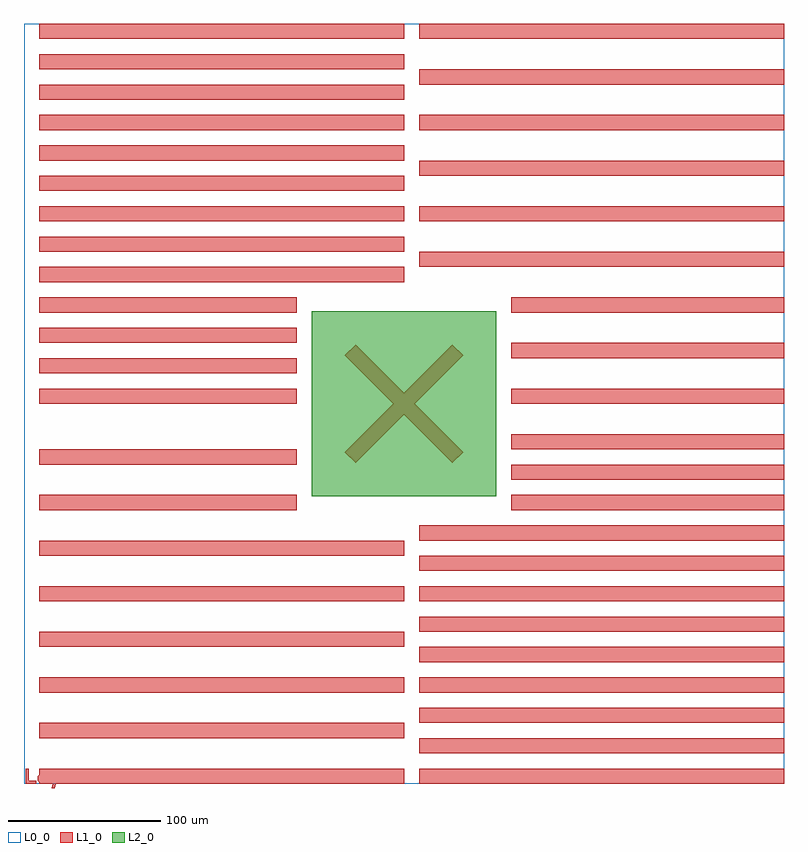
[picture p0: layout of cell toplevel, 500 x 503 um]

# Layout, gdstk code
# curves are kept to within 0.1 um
import gdstk
lib = gdstk.Library(unit=1e-6, precision=1e-09)
def R(c, l, rs):  # rectangles x0, y0, x1, y1
    for r in rs: c.add(gdstk.rectangle(r[:2], r[2:], *l))
def P(c, l, *ps):  # polygons
    for p in ps: c.add(gdstk.Polygon(p, *l))
L0_0 = (0, 0)
L1_0 = (1, 0)
L2_0 = (2, 0)

text = lib.new_cell('text')
P(text, L1_0, [(1,10),(3,10),(3,2),(8,2),(8,0),(1,0),(1,10)],
  [(16,0),(11,0),(9,2),(9,5),(11.34,7),(14,7),(14,7.75),(16,7.75),(16,4),(14,4),(14,5),(12,5),(11,4),(11,3),(12,2),(14,2),(14,3),(16,3)],
  [(18.14,-3),(19,0),(17,7),(19,7),(20,3.5),(21,7),(23,7),(21,0),(20.14,-3),(18.14,-3)],
  [(25,0),(24,1),(24,7),(25,8),(30,8),(31,7),(31,4),(30,3),(27.4,3),(27.4,5),(29,5),(29,6),(26,6),(26,2),(31,2),(31,1),(30,0)],
  [(37,4),(37,5),(35,5),(34,4),(34,0),(32,0),(32,7),(34,7),(34,6),(35,7),(38,7),(39,6),(39,4)],
  [(41,6),(40,6),(40,8),(42,10),(43,10),(43,2),(44,2),(44,0),(40,0),(40,2),(41,2)])

cross = lib.new_cell('cross')
P(cross, L1_0, [(218.18,211.109),(211.109,218.18),(281.82,288.891),(288.891,281.82)],
  [(281.82,211.109),(211.109,281.82),(218.18,288.891),(288.891,218.18)])

line = lib.new_cell('line')
R(line, L1_0, [(10,250,179.289,260)])

line001 = lib.new_cell('line001')
R(line001, L1_0, [(10,270,179.289,280)])

line002 = lib.new_cell('line002')
R(line002, L1_0, [(10,290,179.289,300)])

line003 = lib.new_cell('line003')
R(line003, L1_0, [(10,310,179.289,320)])

linespace = lib.new_cell('linespace')
linespace.add(gdstk.Reference(line, (0,0)))
linespace.add(gdstk.Reference(line001, (0,0)))
linespace.add(gdstk.Reference(line002, (0,0)))
linespace.add(gdstk.Reference(line003, (0,0)))

line004 = lib.new_cell('line004')
R(line004, L1_0, [(10,330,250,340)])

line005 = lib.new_cell('line005')
R(line005, L1_0, [(10,350,250,360)])

line006 = lib.new_cell('line006')
R(line006, L1_0, [(10,370,250,380)])

line007 = lib.new_cell('line007')
R(line007, L1_0, [(10,390,250,400)])

line008 = lib.new_cell('line008')
R(line008, L1_0, [(10,410,250,420)])

line009 = lib.new_cell('line009')
R(line009, L1_0, [(10,430,250,440)])

line010 = lib.new_cell('line010')
R(line010, L1_0, [(10,450,250,460)])

line011 = lib.new_cell('line011')
R(line011, L1_0, [(10,470,250,480)])

line012 = lib.new_cell('line012')
R(line012, L1_0, [(10,490,250,500)])

linespace001 = lib.new_cell('linespace001')
linespace001.add(gdstk.Reference(line004, (0,0)))
linespace001.add(gdstk.Reference(line005, (0,0)))
linespace001.add(gdstk.Reference(line006, (0,0)))
linespace001.add(gdstk.Reference(line007, (0,0)))
linespace001.add(gdstk.Reference(line008, (0,0)))
linespace001.add(gdstk.Reference(line009, (0,0)))
linespace001.add(gdstk.Reference(line010, (0,0)))
linespace001.add(gdstk.Reference(line011, (0,0)))
linespace001.add(gdstk.Reference(line012, (0,0)))

line013 = lib.new_cell('line013')
R(line013, L1_0, [(320.711,250,500,260)])

line014 = lib.new_cell('line014')
R(line014, L1_0, [(320.711,280,500,290)])

line015 = lib.new_cell('line015')
R(line015, L1_0, [(320.711,310,500,320)])

linespace002 = lib.new_cell('linespace002')
linespace002.add(gdstk.Reference(line013, (0,0)))
linespace002.add(gdstk.Reference(line014, (0,0)))
linespace002.add(gdstk.Reference(line015, (0,0)))

line016 = lib.new_cell('line016')
R(line016, L1_0, [(260,340,500,350)])

line017 = lib.new_cell('line017')
R(line017, L1_0, [(260,370,500,380)])

line018 = lib.new_cell('line018')
R(line018, L1_0, [(260,400,500,410)])

line019 = lib.new_cell('line019')
R(line019, L1_0, [(260,430,500,440)])

line020 = lib.new_cell('line020')
R(line020, L1_0, [(260,460,500,470)])

line021 = lib.new_cell('line021')
R(line021, L1_0, [(260,490,500,500)])

linespace003 = lib.new_cell('linespace003')
linespace003.add(gdstk.Reference(line016, (0,0)))
linespace003.add(gdstk.Reference(line017, (0,0)))
linespace003.add(gdstk.Reference(line018, (0,0)))
linespace003.add(gdstk.Reference(line019, (0,0)))
linespace003.add(gdstk.Reference(line020, (0,0)))
linespace003.add(gdstk.Reference(line021, (0,0)))

line022 = lib.new_cell('line022')
R(line022, L1_0, [(10,0,250,10)])

line023 = lib.new_cell('line023')
R(line023, L1_0, [(10,30,250,40)])

line024 = lib.new_cell('line024')
R(line024, L1_0, [(10,60,250,70)])

line025 = lib.new_cell('line025')
R(line025, L1_0, [(10,90,250,100)])

line026 = lib.new_cell('line026')
R(line026, L1_0, [(10,120,250,130)])

line027 = lib.new_cell('line027')
R(line027, L1_0, [(10,150,250,160)])

linespace004 = lib.new_cell('linespace004')
linespace004.add(gdstk.Reference(line022, (0,0)))
linespace004.add(gdstk.Reference(line023, (0,0)))
linespace004.add(gdstk.Reference(line024, (0,0)))
linespace004.add(gdstk.Reference(line025, (0,0)))
linespace004.add(gdstk.Reference(line026, (0,0)))
linespace004.add(gdstk.Reference(line027, (0,0)))

line028 = lib.new_cell('line028')
R(line028, L1_0, [(10,180,179.289,190)])

line029 = lib.new_cell('line029')
R(line029, L1_0, [(10,210,179.289,220)])

linespace005 = lib.new_cell('linespace005')
linespace005.add(gdstk.Reference(line028, (0,0)))
linespace005.add(gdstk.Reference(line029, (0,0)))

line030 = lib.new_cell('line030')
R(line030, L1_0, [(260,0,500,10)])

line031 = lib.new_cell('line031')
R(line031, L1_0, [(260,20,500,30)])

line032 = lib.new_cell('line032')
R(line032, L1_0, [(260,40,500,50)])

line033 = lib.new_cell('line033')
R(line033, L1_0, [(260,60,500,70)])

line034 = lib.new_cell('line034')
R(line034, L1_0, [(260,80,500,90)])

line035 = lib.new_cell('line035')
R(line035, L1_0, [(260,100,500,110)])

line036 = lib.new_cell('line036')
R(line036, L1_0, [(260,120,500,130)])

line037 = lib.new_cell('line037')
R(line037, L1_0, [(260,140,500,150)])

line038 = lib.new_cell('line038')
R(line038, L1_0, [(260,160,500,170)])

linespace006 = lib.new_cell('linespace006')
linespace006.add(gdstk.Reference(line030, (0,0)))
linespace006.add(gdstk.Reference(line031, (0,0)))
linespace006.add(gdstk.Reference(line032, (0,0)))
linespace006.add(gdstk.Reference(line033, (0,0)))
linespace006.add(gdstk.Reference(line034, (0,0)))
linespace006.add(gdstk.Reference(line035, (0,0)))
linespace006.add(gdstk.Reference(line036, (0,0)))
linespace006.add(gdstk.Reference(line037, (0,0)))
linespace006.add(gdstk.Reference(line038, (0,0)))

line039 = lib.new_cell('line039')
R(line039, L1_0, [(320.711,180,500,190)])

line040 = lib.new_cell('line040')
R(line040, L1_0, [(320.711,200,500,210)])

line041 = lib.new_cell('line041')
R(line041, L1_0, [(320.711,220,500,230)])

linespace007 = lib.new_cell('linespace007')
linespace007.add(gdstk.Reference(line039, (0,0)))
linespace007.add(gdstk.Reference(line040, (0,0)))
linespace007.add(gdstk.Reference(line041, (0,0)))

toplevel = lib.new_cell('toplevel')
R(toplevel, L0_0, [(0,0,500,500)])
R(toplevel, L2_0, [(189.289,189.289,310.711,310.711)])
toplevel.add(gdstk.Reference(text, (0,0)))
toplevel.add(gdstk.Reference(cross, (0,0)))
toplevel.add(gdstk.Reference(linespace, (0,0)))
toplevel.add(gdstk.Reference(linespace001, (0,0)))
toplevel.add(gdstk.Reference(linespace002, (0,0)))
toplevel.add(gdstk.Reference(linespace003, (0,0)))
toplevel.add(gdstk.Reference(linespace004, (0,0)))
toplevel.add(gdstk.Reference(linespace005, (0,0)))
toplevel.add(gdstk.Reference(linespace006, (0,0)))
toplevel.add(gdstk.Reference(linespace007, (0,0)))

lib.write_gds('toplevel.gds')
